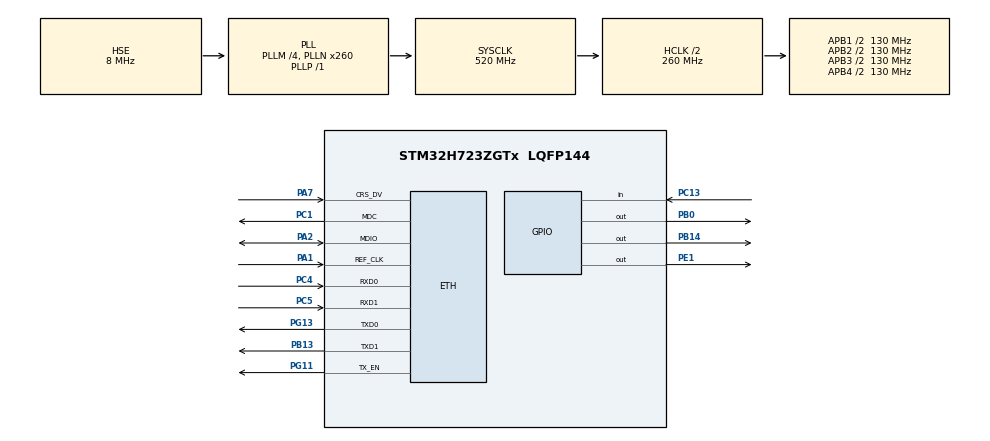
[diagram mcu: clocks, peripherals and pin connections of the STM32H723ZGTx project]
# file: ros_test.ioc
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CORTEX_M7.AccessPermission_S-Cortex_Memory_Protection_Unit_Region1_Settings_S=MPU_REGION_FULL_ACCESS
CORTEX_M7.BaseAddress_S-Cortex_Memory_Protection_Unit_Region1_Settings_S=0x30000000
CORTEX_M7.CPU_DCache=Enabled
CORTEX_M7.CPU_ICache=Enabled
CORTEX_M7.Enable_S-Cortex_Memory_Protection_Unit_Region1_Settings_S=MPU_REGION_ENABLE
CORTEX_M7.IsShareable_S-Cortex_Memory_Protection_Unit_Region1_Settings_S=MPU_ACCESS_SHAREABLE
CORTEX_M7.Size_S-Cortex_Memory_Protection_Unit_Region1_Settings_S=MPU_REGION_SIZE_32KB
CORTEX_M7.TypeExtField_S-Cortex_Memory_Protection_Unit_Region1_Settings_S=MPU_TEX_LEVEL1
CORTEX_M7.default_mode_Activation=1
ETH.MediaInterface=HAL_ETH_RMII_MODE
FREERTOS.Tasks01=defaultTask,24,3000,StartDefaultTask,Default,NULL,Dynamic,NULL,NULL
LWIP.BSP.number=1
LWIP.GATEWAY_ADDRESS=192.168.010.001
LWIP.IP_ADDRESS=192.168.010.014
LWIP.LWIP_DHCP=0
LWIP.LWIP_SO_RCVTIMEO=1
LWIP.MEMP_NUM_UDP_PCB=15
LWIP.NETMASK_ADDRESS=255.255.255.000
LWIP.Version=v2.1.2_Cube
LWIP0.BSP.STBoard=false
LWIP0.BSP.api=BSP_COMPONENT_DRIVER
LWIP0.BSP.component=LAN8742
LWIP0.BSP.instance=LAN8742
LWIP0.BSP.name=Driver_PHY
LWIP0.BSP.semaphore=S_LAN8742
LWIP0.BSP.solution=LAN8742
Mcu.Family=STM32H7
Mcu.Name=STM32H723ZGTx
Mcu.Package=LQFP144
NUCLEO-H723ZG.BUTTON=1
NUCLEO-H723ZG.LD1=true
NUCLEO-H723ZG.LD2=true
NUCLEO-H723ZG.LD3=true
NUCLEO-H723ZG.VCP=true
NVIC.ETH_IRQn=true\:5\:0\:false\:false\:true\:true\:true\:true\:true
NVIC.ETH_WKUP_IRQn=true\:5\:0\:false\:false\:true\:true\:true\:true\:true
NVIC.EXTI15_10_IRQn=true\:5\:0\:false\:false\:true\:true\:false\:true\:true
NVIC.PriorityGroup=NVIC_PRIORITYGROUP_4
PA1.GPIO_Speed=GPIO_SPEED_FREQ_VERY_HIGH
PA1.Mode=RMII
PA1.Signal=ETH_REF_CLK
PA13(JTMS/SWDIO).GPIO_Label=SWDIO
PA13(JTMS/SWDIO).Signal=DEBUG_JTMS-SWDIO
PA14(JTCK/SWCLK).GPIO_Label=SWCLK
PA14(JTCK/SWCLK).Signal=DEBUG_JTCK-SWCLK
PA2.GPIO_Speed=GPIO_SPEED_FREQ_VERY_HIGH
PA2.Mode=RMII
PA2.Signal=ETH_MDIO
PA7.GPIO_Speed=GPIO_SPEED_FREQ_VERY_HIGH
PA7.Mode=RMII
PA7.Signal=ETH_CRS_DV
PB0.Signal=GPIO_Output
PB13.GPIO_Speed=GPIO_SPEED_FREQ_VERY_HIGH
PB13.Mode=RMII
PB13.Signal=ETH_TXD1
PB14.Signal=GPIO_Output
PC1.GPIO_Speed=GPIO_SPEED_FREQ_VERY_HIGH
PC1.Mode=RMII
PC1.Signal=ETH_MDC
PC13.Signal=GPIO_Input
PC14-OSC32_IN.Signal=RCC_OSC32_IN
PC15-OSC32_OUT.Signal=RCC_OSC32_OUT
PC4.GPIO_Speed=GPIO_SPEED_FREQ_VERY_HIGH
PC4.Mode=RMII
PC4.Signal=ETH_RXD0
PC5.GPIO_Speed=GPIO_SPEED_FREQ_VERY_HIGH
PC5.Mode=RMII
PC5.Signal=ETH_RXD1
PD8.Signal=USART3_TX
PD9.Signal=USART3_RX
PE1.Signal=GPIO_Output
PG11.GPIO_Speed=GPIO_SPEED_FREQ_VERY_HIGH
PG11.Mode=RMII
PG11.Signal=ETH_TX_EN
PG13.GPIO_Speed=GPIO_SPEED_FREQ_VERY_HIGH
PG13.Mode=RMII
PG13.Signal=ETH_TXD0
PH0-OSC_IN.Mode=HSE-External-Clock-Source
PH0-OSC_IN.Signal=RCC_OSC_IN
ProjectManager.HeapSize=0x200
ProjectManager.StackSize=0x400
ProjectManager.TargetToolchain=STM32CubeIDE
RCC.ADCFreq_Value=76000000
RCC.APB1Freq_Value=130000000
RCC.APB2Freq_Value=130000000
RCC.APB3Freq_Value=130000000
RCC.APB4Freq_Value=130000000
RCC.CortexFreq_Value=520000000
RCC.D1PPRE=RCC_APB3_DIV2
RCC.D2PPRE1=RCC_APB1_DIV2
RCC.D2PPRE2=RCC_APB2_DIV2
RCC.D3PPRE=RCC_APB4_DIV2
RCC.DIVM1=4
RCC.DIVM2=1
RCC.DIVN1=260
RCC.DIVN2=19
RCC.DIVP1=1
RCC.DIVQ1=4
RCC.HCLKFreq_Value=260000000
RCC.HPRE=RCC_HCLK_DIV2
RCC.HSE_VALUE=8000000
RCC.PLLFRACN=0
RCC.PLLSourceVirtual=RCC_PLLSOURCE_HSE
RCC.PWR_Regulator_Voltage_Scale=PWR_REGULATOR_VOLTAGE_SCALE0
RCC.SYSCLKFreq_VALUE=520000000
RCC.SYSCLKSource=RCC_SYSCLKSOURCE_PLLCLK
RCC.USBCLockSelection=RCC_USBCLKSOURCE_HSI48
RCC.USBFreq_Value=48000000
VP_FREERTOS_VS_CMSIS_V2.Mode=CMSIS_V2
VP_LWIP_VS_Enabled.Mode=Enabled
VP_MEMORYMAP_VS_MEMORYMAP.Mode=CurAppReg
VP_NUCLEO-H723ZG_VS_BSP_COMMON.Mode=COMMON
board=NUCLEO-H723ZG

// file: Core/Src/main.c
/* USER CODE BEGIN Header */
/**
  ******************************************************************************
  * @file           : main.c
  * @brief          : Main program body
  ******************************************************************************
  * @attention
  *
  * Copyright (c) 2025 STMicroelectronics.
  * All rights reserved.
  *
  * This software is licensed under terms that can be found in the LICENSE file
  * in the root directory of this software component.
  * If no LICENSE file comes with this software, it is provided AS-IS.
  *
  ******************************************************************************
  */
/* USER CODE END Header */
#include "main.h"
#include "cmsis_os.h"
#include "lwip.h"
#include "memorymap.h"
#include "gpio.h"

COM_InitTypeDef BspCOMInit;

void SystemClock_Config(void);
static void MPU_Config(void);
void MX_FREERTOS_Init(void);

int main(void)
{

  /* MPU Configuration--------------------------------------------------------*/
  MPU_Config();

  /* Enable the CPU Cache */

  /* Enable I-Cache---------------------------------------------------------*/
  SCB_EnableICache();

  /* Enable D-Cache---------------------------------------------------------*/
  SCB_EnableDCache();

  /* MCU Configuration--------------------------------------------------------*/

  /* Reset of all peripherals, Initializes the Flash interface and the Systick. */
  HAL_Init();

  /* Configure the system clock */
  SystemClock_Config();

  /* Initialize all configured peripherals */
  MX_GPIO_Init();

  /* Init scheduler */
  osKernelInitialize();

  /* Call init function for freertos objects (in cmsis_os2.c) */
  MX_FREERTOS_Init();

  /* Initialize leds */
  BSP_LED_Init(LED_GREEN);
  BSP_LED_Init(LED_YELLOW);
  BSP_LED_Init(LED_RED);

  /* Initialize USER push-button, will be used to trigger an interrupt each time it's pressed.*/
  BSP_PB_Init(BUTTON_USER, BUTTON_MODE_EXTI);

  /* Initialize COM1 port (115200, 8 bits (7-bit data + 1 stop bit), no parity */
  BspCOMInit.BaudRate   = 115200;
  BspCOMInit.WordLength = COM_WORDLENGTH_8B;
  BspCOMInit.StopBits   = COM_STOPBITS_1;
  BspCOMInit.Parity     = COM_PARITY_NONE;
  BspCOMInit.HwFlowCtl  = COM_HWCONTROL_NONE;
  if (BSP_COM_Init(COM1, &BspCOMInit) != BSP_ERROR_NONE)
  {
    Error_Handler();
  }

  /* Start scheduler */
  osKernelStart();

  /* We should never get here as control is now taken by the scheduler */

  /* Infinite loop */
  while (1)
  {

  }
}

void SystemClock_Config(void)
{
  RCC_OscInitTypeDef RCC_OscInitStruct = {0};
  RCC_ClkInitTypeDef RCC_ClkInitStruct = {0};

  /** Supply configuration update enable
  */
  HAL_PWREx_ConfigSupply(PWR_LDO_SUPPLY);

  /** Configure the main internal regulator output voltage
  */
  __HAL_PWR_VOLTAGESCALING_CONFIG(PWR_REGULATOR_VOLTAGE_SCALE0);

  while(!__HAL_PWR_GET_FLAG(PWR_FLAG_VOSRDY)) {}

  /** Initializes the RCC Oscillators according to the specified parameters
  * in the RCC_OscInitTypeDef structure.
  */
  RCC_OscInitStruct.OscillatorType = RCC_OSCILLATORTYPE_HSE;
  RCC_OscInitStruct.HSEState = RCC_HSE_BYPASS;
  RCC_OscInitStruct.PLL.PLLState = RCC_PLL_ON;
  RCC_OscInitStruct.PLL.PLLSource = RCC_PLLSOURCE_HSE;
  RCC_OscInitStruct.PLL.PLLM = 4;
  RCC_OscInitStruct.PLL.PLLN = 260;
  RCC_OscInitStruct.PLL.PLLP = 1;
  RCC_OscInitStruct.PLL.PLLQ = 4;
  RCC_OscInitStruct.PLL.PLLR = 2;
  RCC_OscInitStruct.PLL.PLLRGE = RCC_PLL1VCIRANGE_1;
  RCC_OscInitStruct.PLL.PLLVCOSEL = RCC_PLL1VCOWIDE;
  RCC_OscInitStruct.PLL.PLLFRACN = 0;
  if (HAL_RCC_OscConfig(&RCC_OscInitStruct) != HAL_OK)
  {
    Error_Handler();
  }

  /** Initializes the CPU, AHB and APB buses clocks
  */
  RCC_ClkInitStruct.ClockType = RCC_CLOCKTYPE_HCLK|RCC_CLOCKTYPE_SYSCLK
                              |RCC_CLOCKTYPE_PCLK1|RCC_CLOCKTYPE_PCLK2
                              |RCC_CLOCKTYPE_D3PCLK1|RCC_CLOCKTYPE_D1PCLK1;
  RCC_ClkInitStruct.SYSCLKSource = RCC_SYSCLKSOURCE_PLLCLK;
  RCC_ClkInitStruct.SYSCLKDivider = RCC_SYSCLK_DIV1;
  RCC_ClkInitStruct.AHBCLKDivider = RCC_HCLK_DIV2;
  RCC_ClkInitStruct.APB3CLKDivider = RCC_APB3_DIV2;
  RCC_ClkInitStruct.APB1CLKDivider = RCC_APB1_DIV2;
  RCC_ClkInitStruct.APB2CLKDivider = RCC_APB2_DIV2;
  RCC_ClkInitStruct.APB4CLKDivider = RCC_APB4_DIV2;

  if (HAL_RCC_ClockConfig(&RCC_ClkInitStruct, FLASH_LATENCY_3) != HAL_OK)
  {
    Error_Handler();
  }
}

 /* MPU Configuration */

void MPU_Config(void)
{
  MPU_Region_InitTypeDef MPU_InitStruct = {0};

  /* Disables the MPU */
  HAL_MPU_Disable();

  /** Initializes and configures the Region and the memory to be protected
  */
  MPU_InitStruct.Enable = MPU_REGION_ENABLE;
  MPU_InitStruct.Number = MPU_REGION_NUMBER0;
  MPU_InitStruct.BaseAddress = 0x0;
  MPU_InitStruct.Size = MPU_REGION_SIZE_4GB;
  MPU_InitStruct.SubRegionDisable = 0x87;
  MPU_InitStruct.TypeExtField = MPU_TEX_LEVEL0;
  MPU_InitStruct.AccessPermission = MPU_REGION_NO_ACCESS;
  MPU_InitStruct.DisableExec = MPU_INSTRUCTION_ACCESS_DISABLE;
  MPU_InitStruct.IsShareable = MPU_ACCESS_SHAREABLE;
  MPU_InitStruct.IsCacheable = MPU_ACCESS_NOT_CACHEABLE;
  MPU_InitStruct.IsBufferable = MPU_ACCESS_NOT_BUFFERABLE;

  HAL_MPU_ConfigRegion(&MPU_InitStruct);

  /** Initializes and configures the Region and the memory to be protected
  */
  MPU_InitStruct.Number = MPU_REGION_NUMBER1;
  MPU_InitStruct.BaseAddress = 0x30000000;
  MPU_InitStruct.Size = MPU_REGION_SIZE_32KB;
  MPU_InitStruct.SubRegionDisable = 0x0;
  MPU_InitStruct.TypeExtField = MPU_TEX_LEVEL1;
  MPU_InitStruct.AccessPermission = MPU_REGION_FULL_ACCESS;
  MPU_InitStruct.DisableExec = MPU_INSTRUCTION_ACCESS_ENABLE;

  HAL_MPU_ConfigRegion(&MPU_InitStruct);
  /* Enables the MPU */
  HAL_MPU_Enable(MPU_PRIVILEGED_DEFAULT);

}

void Error_Handler(void)
{
  __disable_irq();
  while (1)
  {
  }
}

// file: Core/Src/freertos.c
/* USER CODE BEGIN Header */
/**
  ******************************************************************************
  * File Name          : freertos.c
  * Description        : Code for freertos applications
  ******************************************************************************
  * @attention
  *
  * Copyright (c) 2025 STMicroelectronics.
  * All rights reserved.
  *
  * This software is licensed under terms that can be found in the LICENSE file
  * in the root directory of this software component.
  * If no LICENSE file comes with this software, it is provided AS-IS.
  *
  ******************************************************************************
  */
/* USER CODE END Header */

#include "FreeRTOS.h"
#include "task.h"
#include "main.h"
#include "cmsis_os.h"

/* USER CODE BEGIN Includes */

#include <rcl/rcl.h>
#include <rcl/error_handling.h>
#include <rclc/rclc.h>
#include <rclc/executor.h>
#include <uxr/client/transport.h>
#include <rmw_microxrcedds_c/config.h>
#include <rmw_microros/rmw_microros.h>
#include <std_msgs/msg/int32.h>
#include <std_msgs/msg/string.h>
#include <rosidl_runtime_c/string_functions.h>
#include "lwip/netif.h"
/* USER CODE END Includes */

/* USER CODE BEGIN Variables */
//エラーハンドリング用のマクロ
#define RCCHECK(fn) { rcl_ret_t temp_rc = fn; if((temp_rc != RCL_RET_OK)){printf("Failed status on line %d: %d. Aborting.\n",__LINE__,(int)temp_rc);}}
#define RCSOFTCHECK(fn) { rcl_ret_t temp_rc = fn; if((temp_rc != RCL_RET_OK)){printf("Failed status on line %d: %d. Continuing.\n",__LINE__,(int)temp_rc);}}

//micro-ROS関連の変数の初期化
rcl_publisher_t publisher;
rcl_allocator_t allocator;
rclc_support_t support;
rcl_node_t node;
std_msgs__msg__String msg;

extern struct netif gnetif;
/* USER CODE END Variables */
/* Definitions for defaultTask */
osThreadId_t defaultTaskHandle;
const osThreadAttr_t defaultTask_attributes = {
  .name = "defaultTask",
  .stack_size = 3000 * 4,
  .priority = (osPriority_t) osPriorityNormal,
};

/* USER CODE BEGIN FunctionPrototypes */
bool cubemx_transport_open(struct uxrCustomTransport * transport);
bool cubemx_transport_close(struct uxrCustomTransport * transport);
size_t cubemx_transport_write(struct uxrCustomTransport* transport, const uint8_t * buf, size_t len, uint8_t * err);
size_t cubemx_transport_read(struct uxrCustomTransport* transport, uint8_t* buf, size_t len, int timeout, uint8_t* err);

void * microros_allocate(size_t size, void * state);
void microros_deallocate(void * pointer, void * state);
void * microros_reallocate(void * pointer, size_t size, void * state);
void * microros_zero_allocate(size_t number_of_elements, size_t size_of_element, void * state);

/* USER CODE END FunctionPrototypes */

void StartDefaultTask(void *argument);

extern void MX_LWIP_Init(void);
void MX_FREERTOS_Init(void); /* (MISRA C 2004 rule 8.1) */

void MX_FREERTOS_Init(void) {

  /* Create the thread(s) */
  /* creation of defaultTask */
  defaultTaskHandle = osThreadNew(StartDefaultTask, NULL, &defaultTask_attributes);

}

void StartDefaultTask(void *argument)
{
  /* init code for LWIP */
  MX_LWIP_Init();
  /* USER CODE BEGIN StartDefaultTask */

  while(!netif_is_link_up(&gnetif))
  {
		osDelay(500);
  }

  auto ret = rmw_uros_set_custom_transport(
    true,
	(void *) "192.168.10.13",
	cubemx_transport_open,
	cubemx_transport_close,
	cubemx_transport_write,
	cubemx_transport_read
  );
  if(ret != RMW_RET_OK)
  {
	  while(1);
  }

  rcl_allocator_t freeRTOS_allocator = rcutils_get_zero_initialized_allocator();
  freeRTOS_allocator.allocate = microros_allocate;
  freeRTOS_allocator.deallocate = microros_deallocate;
  freeRTOS_allocator.reallocate = microros_reallocate;
  freeRTOS_allocator.zero_allocate =  microros_zero_allocate;

  // ここからmicro-ROSのセットアップ
  allocator = rcl_get_default_allocator();
  node = rcl_get_zero_initialized_node();
  //初期化設定の作成
  RCCHECK(rclc_support_init(&support, 0, NULL, &allocator));
  //ノードの作成
  RCCHECK(rclc_node_init_default(&node, "f7_node", "", &support));
  //publisherの作成
  RCCHECK(rclc_publisher_init_default(
    &publisher,
    &node,
    ROSIDL_GET_MSG_TYPE_SUPPORT(std_msgs, msg, String),
    "/from_f767zi"));

  //配列データを扱うときの処理
  rosidl_runtime_c__String__init(&msg);
  char hello[] = "Hello world from f7";
  rosidl_runtime_c__String__assignn(&msg.data, hello, sizeof(hello));
  /* Infinite loop */
  for(;;)
  {
	    //データのpublish
	    RCSOFTCHECK(rcl_publish(&publisher, &msg, NULL));
		osDelay(500);
  }
  /* USER CODE END StartDefaultTask */
}
